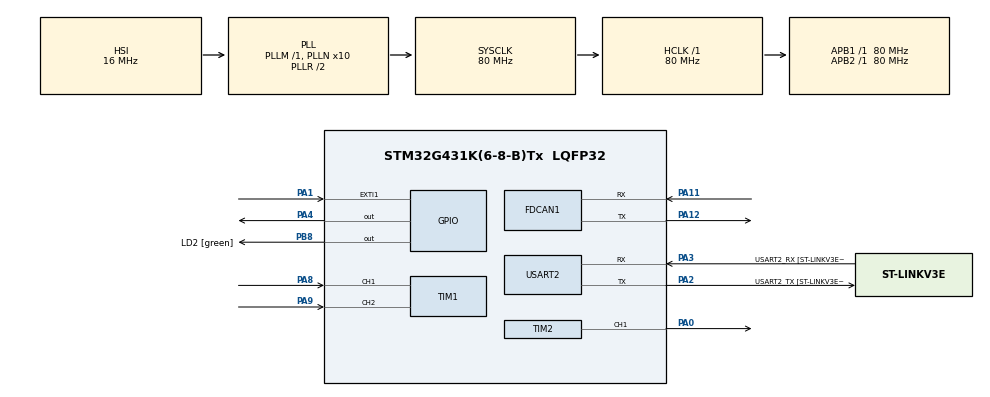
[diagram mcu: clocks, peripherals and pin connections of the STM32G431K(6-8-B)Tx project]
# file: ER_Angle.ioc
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FDCAN1.CalculateBaudRateNominal=1000000
FDCAN1.CalculateTimeBitNominal=1000
FDCAN1.CalculateTimeQuantumNominal=62.5
FDCAN1.DataPrescaler=2
FDCAN1.DataSyncJumpWidth=2
FDCAN1.DataTimeSeg1=10
FDCAN1.DataTimeSeg2=9
FDCAN1.NominalPrescaler=5
FDCAN1.NominalSyncJumpWidth=2
FDCAN1.NominalTimeSeg1=13
FDCAN1.StdFiltersNbr=1
Mcu.Family=STM32G4
Mcu.Name=STM32G431K(6-8-B)Tx
Mcu.Package=LQFP32
NVIC.EXTI1_IRQn=true\:0\:0\:false\:false\:true\:true\:true\:true
NVIC.FDCAN1_IT0_IRQn=true\:0\:0\:false\:false\:true\:true\:true\:true
NVIC.PriorityGroup=NVIC_PRIORITYGROUP_4
NVIC.TIM2_IRQn=true\:0\:0\:false\:false\:true\:true\:true\:true
NVIC.TIM6_DAC_IRQn=true\:0\:0\:false\:false\:true\:true\:true\:true
PA0.Signal=S_TIM2_CH1
PA1.GPIO_ModeDefaultEXTI=GPIO_MODE_IT_RISING
PA1.GPIO_PuPd=GPIO_PULLDOWN
PA1.Signal=GPXTI1
PA11.Mode=FDCAN_Activate
PA11.Signal=FDCAN1_RX
PA12.Mode=FDCAN_Activate
PA12.Signal=FDCAN1_TX
PA13.GPIO_Label=T_SWDIO
PA13.Mode=Serial_Wire
PA13.Signal=SYS_JTMS-SWDIO
PA14.GPIO_Label=T_SWCLK
PA14.Mode=Serial_Wire
PA14.Signal=SYS_JTCK-SWCLK
PA2.GPIO_Label=USART2_TX [ST-LINKV3E_VCP_RX]
PA2.Mode=Asynchronous
PA2.Signal=USART2_TX
PA3.GPIO_Label=USART2_RX [ST-LINKV3E_VCP_TX]
PA3.Mode=Asynchronous
PA3.Signal=USART2_RX
PA4.Signal=GPIO_Output
PA8.Signal=S_TIM1_CH1
PA9.Signal=S_TIM1_CH2
PB3.Signal=S_TIM2_CH2
PB8-BOOT0.GPIO_Label=LD2 [green]
PB8-BOOT0.Signal=GPIO_Output
ProjectManager.HeapSize=0x200
ProjectManager.StackSize=0x400
ProjectManager.TargetToolchain=STM32CubeIDE
RCC.ADC12Freq_Value=80000000
RCC.AHBFreq_Value=80000000
RCC.APB1Freq_Value=80000000
RCC.APB1TimFreq_Value=80000000
RCC.APB2Freq_Value=80000000
RCC.APB2TimFreq_Value=80000000
RCC.CortexFreq_Value=80000000
RCC.EXTERNAL_CLOCK_VALUE=12288000
RCC.HCLKFreq_Value=80000000
RCC.HSE_VALUE=8000000
RCC.HSI48_VALUE=48000000
RCC.HSI_VALUE=16000000
RCC.LSE_VALUE=32768
RCC.PLLN=10
RCC.SYSCLKFreq_VALUE=80000000
RCC.SYSCLKSource=RCC_SYSCLKSOURCE_PLLCLK
RCC.USBFreq_Value=80000000
RCC.VCOOutputFreq_Value=160000000
SH.S_TIM1_CH1.0=TIM1_CH1,Encoder_Interface
SH.S_TIM1_CH2.0=TIM1_CH2,Encoder_Interface
SH.S_TIM2_CH1.0=TIM2_CH1,PWM Generation1 CH1
SH.S_TIM2_CH2.0=TIM2_CH2
TIM1.EncoderMode=TIM_ENCODERMODE_TI12
TIM2.Channel-PWM\ Generation1\ CH1=TIM_CHANNEL_1
TIM2.PeriodNoDither=999
TIM2.Prescaler=7
TIM6.PeriodNoDither=999
TIM6.Prescaler=159
USART2.VirtualMode-Asynchronous=VM_ASYNC
USART2.WordLength=WORDLENGTH_8B
VP_TIM6_VS_ClockSourceINT.Mode=Enable_Timer
board=NUCLEO-G431KB

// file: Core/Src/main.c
/* USER CODE BEGIN Header */
/**
  ******************************************************************************
  * @file           : main.c
  * @brief          : Main program body
  ******************************************************************************
  * @attention
  *
  * Copyright (c) 2023 STMicroelectronics.
  * All rights reserved.
  *
  * This software is licensed under terms that can be found in the LICENSE file
  * in the root directory of this software component.
  * If no LICENSE file comes with this software, it is provided AS-IS.
  *
  ******************************************************************************
  */
/* USER CODE END Header */
#include "main.h"

/* USER CODE BEGIN Includes */
#include <stdio.h>
#include <stdlib.h>
#include <math.h>
#include <stdint.h>
/* USER CODE END Includes */

FDCAN_HandleTypeDef hfdcan1;

TIM_HandleTypeDef htim1;
TIM_HandleTypeDef htim2;
TIM_HandleTypeDef htim6;

UART_HandleTypeDef huart2;

/* USER CODE BEGIN PV */
FDCAN_TxHeaderTypeDef TxHeader;
FDCAN_RxHeaderTypeDef RxHeader;
FDCAN_FilterTypeDef sFilterConfig;

uint8_t TxData[1];
uint8_t RxData[4];
uint32_t TxMailbox;
/* USER CODE END PV */

void SystemClock_Config(void);
static void MX_GPIO_Init(void);
static void MX_USART2_UART_Init(void);
static void MX_TIM1_Init(void);
static void MX_TIM2_Init(void);
static void MX_TIM6_Init(void);
static void MX_FDCAN1_Init(void);

/* USER CODE BEGIN 0 */
int setup_flag = 0;			//"receive from CAN" 1 or 0
							//flag   1:setup   		0:pid or stop
int end_setup_flag = 0;		//flag   1:end setup  	0:continue
int move_flag = 0;			//flag   1:start pid 	0:stop
int32_t pwm = 0;			//duty(0~1000)   0:High   1000:Low

float x_ref = 80;			//"receive from CAN" only 0 ~ 115
float x = 0;				//position of screw nut
float x_last = 0;			//previous position of screw nut
float x_dif = 0;			//velocity (= dx/dt)
float e = 0;				//error (= x_ref - x)
float e_int = 0;			//time-integrated value of e
float gain = 1/6553.6;		//count->x

//pid gains
float kp = 400;
float kd = 0;
float ki = 50;

//low pass filter
float fil = 0.2;

//UART
int __io_putchar(int ch) {
    HAL_UART_Transmit(&huart2, (uint8_t *)&ch, 1, 100);
    return ch;
}

//Read encoder
int16_t read_encoder_value(void)
{
  uint16_t enc_buff = TIM1->CNT;
  TIM1->CNT = 0;
  if (enc_buff > 32767)
  {
    return (int16_t)enc_buff;
  }
  else
  {
    return (int16_t)enc_buff;
  }
}

//timer
void HAL_TIM_PeriodElapsedCallback(TIM_HandleTypeDef *htim)
{
    if (htim == &htim6){
    	if(setup_flag){
    		//setup mode---------------------------------------------------------------------
    		if(end_setup_flag){
    			//stop and end setup---------------------------------------
    			HAL_GPIO_WritePin(GPIOA, GPIO_PIN_4,0);
    			pwm = 980;
    			move_flag = 1;
    			setup_flag = 0;
    			//printf("stop! end setup\r\n");
    		}else{
    			//continue setup-------------------------------------------
    			HAL_GPIO_WritePin(GPIOA, GPIO_PIN_4,0);
    			pwm = 700;
    			//printf("setup now\r\n");
    		}
    	}else if(move_flag){
    		//pid mode--------------------------------------------------------------------------
    		x -= gain*read_encoder_value();			//get x
    		if(x_ref > 115){
    			x_ref = 115;
    		}else if(x_ref < 0){
    			x_ref = 0;
    		}
    		e = x_ref - x;							//calculate error
    		x_dif += fil*((x - x_last) - x_dif);	//calculate x_diff
    		//anti wind up---------------------
    		if(pwm > 600){
    			e_int += 0.01*e;					//calculate x_int
    		}
    		//---------------------------------
    		pwm = kp*e + ki*e_int - kd*x_dif;		//calculate pwm

    		//decide rotational direction of motor
    		if(pwm > 0){
    			HAL_GPIO_WritePin(GPIOA, GPIO_PIN_4,1);
    		}else{
    			HAL_GPIO_WritePin(GPIOA, GPIO_PIN_4,0);
    		}

    		pwm = abs(pwm);
    		if(pwm > 980){
    			pwm = 980;
    		}
    		//printf("%.3f\r\n",x);		//print x
    		pwm = 1000 - pwm;
    	}else{
    		//fail-safe mode------------------------------------------------------------------------
    		HAL_GPIO_WritePin(GPIOA, GPIO_PIN_4,0);
    		pwm = 980;
    		//printf("no data\r\n");
    	}
    }
}

//switch(continue setup or end it)
void HAL_GPIO_EXTI_Callback(uint16_t GPIO_Pin) {
  if (GPIO_Pin == GPIO_PIN_1) {
	  end_setup_flag = 1;
  }
}
/* USER CODE END 0 */

int main(void)
{

  /* MCU Configuration--------------------------------------------------------*/

  /* Reset of all peripherals, Initializes the Flash interface and the Systick. */
  HAL_Init();

  /* Configure the system clock */
  SystemClock_Config();

  /* Initialize all configured peripherals */
  MX_GPIO_Init();
  MX_USART2_UART_Init();
  MX_TIM1_Init();
  MX_TIM2_Init();
  MX_TIM6_Init();
  MX_FDCAN1_Init();
  /* USER CODE BEGIN 2 */
  HAL_TIM_Encoder_Start( &htim1, TIM_CHANNEL_ALL );
  HAL_TIM_PWM_Start(&htim2,TIM_CHANNEL_1);
  HAL_TIM_Base_Start_IT(&htim6);

    TxHeader.Identifier = 0x513;
    TxHeader.IdType = FDCAN_STANDARD_ID;
    TxHeader.TxFrameType = FDCAN_DATA_FRAME;
    TxHeader.DataLength = FDCAN_DLC_BYTES_1;
    TxHeader.ErrorStateIndicator = FDCAN_ESI_ACTIVE;
    TxHeader.BitRateSwitch = FDCAN_BRS_ON;
    TxHeader.FDFormat = FDCAN_FD_CAN;
    TxHeader.TxEventFifoControl = FDCAN_NO_TX_EVENTS;
    TxHeader.MessageMarker = 0;

    FDCAN_FilterTypeDef sFilterConfig;
    sFilterConfig.IdType = FDCAN_STANDARD_ID;
    sFilterConfig.FilterIndex = 0;
    sFilterConfig.FilterType = FDCAN_FILTER_DUAL;
    sFilterConfig.FilterConfig = FDCAN_FILTER_TO_RXFIFO0;
    sFilterConfig.FilterID1 = 0x051;
    sFilterConfig.FilterID2 = 0x301;
  /* USER CODE END 2 */

  /* Infinite loop */
  /* USER CODE BEGIN WHILE */
  setbuf(stdout, NULL);
  while (1)
  {
	  __HAL_TIM_SET_COMPARE(&htim2, TIM_CHANNEL_1, pwm);
    /* USER CODE END WHILE */

  }
}

void SystemClock_Config(void)
{
  RCC_OscInitTypeDef RCC_OscInitStruct = {0};
  RCC_ClkInitTypeDef RCC_ClkInitStruct = {0};

  /** Configure the main internal regulator output voltage
  */
  HAL_PWREx_ControlVoltageScaling(PWR_REGULATOR_VOLTAGE_SCALE1);

  /** Initializes the RCC Oscillators according to the specified parameters
  * in the RCC_OscInitTypeDef structure.
  */
  RCC_OscInitStruct.OscillatorType = RCC_OSCILLATORTYPE_HSI;
  RCC_OscInitStruct.HSIState = RCC_HSI_ON;
  RCC_OscInitStruct.HSICalibrationValue = RCC_HSICALIBRATION_DEFAULT;
  RCC_OscInitStruct.PLL.PLLState = RCC_PLL_ON;
  RCC_OscInitStruct.PLL.PLLSource = RCC_PLLSOURCE_HSI;
  RCC_OscInitStruct.PLL.PLLM = RCC_PLLM_DIV1;
  RCC_OscInitStruct.PLL.PLLN = 10;
  RCC_OscInitStruct.PLL.PLLP = RCC_PLLP_DIV2;
  RCC_OscInitStruct.PLL.PLLQ = RCC_PLLQ_DIV2;
  RCC_OscInitStruct.PLL.PLLR = RCC_PLLR_DIV2;
  if (HAL_RCC_OscConfig(&RCC_OscInitStruct) != HAL_OK)
  {
    Error_Handler();
  }

  /** Initializes the CPU, AHB and APB buses clocks
  */
  RCC_ClkInitStruct.ClockType = RCC_CLOCKTYPE_HCLK|RCC_CLOCKTYPE_SYSCLK
                              |RCC_CLOCKTYPE_PCLK1|RCC_CLOCKTYPE_PCLK2;
  RCC_ClkInitStruct.SYSCLKSource = RCC_SYSCLKSOURCE_PLLCLK;
  RCC_ClkInitStruct.AHBCLKDivider = RCC_SYSCLK_DIV1;
  RCC_ClkInitStruct.APB1CLKDivider = RCC_HCLK_DIV1;
  RCC_ClkInitStruct.APB2CLKDivider = RCC_HCLK_DIV1;

  if (HAL_RCC_ClockConfig(&RCC_ClkInitStruct, FLASH_LATENCY_2) != HAL_OK)
  {
    Error_Handler();
  }
}

static void MX_FDCAN1_Init(void)
{

  hfdcan1.Instance = FDCAN1;
  hfdcan1.Init.ClockDivider = FDCAN_CLOCK_DIV1;
  hfdcan1.Init.FrameFormat = FDCAN_FRAME_CLASSIC;
  hfdcan1.Init.Mode = FDCAN_MODE_NORMAL;
  hfdcan1.Init.AutoRetransmission = DISABLE;
  hfdcan1.Init.TransmitPause = DISABLE;
  hfdcan1.Init.ProtocolException = DISABLE;
  hfdcan1.Init.NominalPrescaler = 5;
  hfdcan1.Init.NominalSyncJumpWidth = 2;
  hfdcan1.Init.NominalTimeSeg1 = 13;
  hfdcan1.Init.NominalTimeSeg2 = 2;
  hfdcan1.Init.DataPrescaler = 2;
  hfdcan1.Init.DataSyncJumpWidth = 2;
  hfdcan1.Init.DataTimeSeg1 = 10;
  hfdcan1.Init.DataTimeSeg2 = 9;
  hfdcan1.Init.StdFiltersNbr = 1;
  hfdcan1.Init.ExtFiltersNbr = 0;
  hfdcan1.Init.TxFifoQueueMode = FDCAN_TX_FIFO_OPERATION;
  if (HAL_FDCAN_Init(&hfdcan1) != HAL_OK)
  {
    Error_Handler();
  }

}

static void MX_TIM1_Init(void)
{

  TIM_Encoder_InitTypeDef sConfig = {0};
  TIM_MasterConfigTypeDef sMasterConfig = {0};

  htim1.Instance = TIM1;
  htim1.Init.Prescaler = 0;
  htim1.Init.CounterMode = TIM_COUNTERMODE_UP;
  htim1.Init.Period = 65535;
  htim1.Init.ClockDivision = TIM_CLOCKDIVISION_DIV1;
  htim1.Init.RepetitionCounter = 0;
  htim1.Init.AutoReloadPreload = TIM_AUTORELOAD_PRELOAD_DISABLE;
  sConfig.EncoderMode = TIM_ENCODERMODE_TI12;
  sConfig.IC1Polarity = TIM_ICPOLARITY_RISING;
  sConfig.IC1Selection = TIM_ICSELECTION_DIRECTTI;
  sConfig.IC1Prescaler = TIM_ICPSC_DIV1;
  sConfig.IC1Filter = 0;
  sConfig.IC2Polarity = TIM_ICPOLARITY_RISING;
  sConfig.IC2Selection = TIM_ICSELECTION_DIRECTTI;
  sConfig.IC2Prescaler = TIM_ICPSC_DIV1;
  sConfig.IC2Filter = 0;
  if (HAL_TIM_Encoder_Init(&htim1, &sConfig) != HAL_OK)
  {
    Error_Handler();
  }
  sMasterConfig.MasterOutputTrigger = TIM_TRGO_RESET;
  sMasterConfig.MasterOutputTrigger2 = TIM_TRGO2_RESET;
  sMasterConfig.MasterSlaveMode = TIM_MASTERSLAVEMODE_DISABLE;
  if (HAL_TIMEx_MasterConfigSynchronization(&htim1, &sMasterConfig) != HAL_OK)
  {
    Error_Handler();
  }

}

static void MX_TIM2_Init(void)
{

  TIM_MasterConfigTypeDef sMasterConfig = {0};
  TIM_OC_InitTypeDef sConfigOC = {0};

  htim2.Instance = TIM2;
  htim2.Init.Prescaler = 7;
  htim2.Init.CounterMode = TIM_COUNTERMODE_UP;
  htim2.Init.Period = 999;
  htim2.Init.ClockDivision = TIM_CLOCKDIVISION_DIV1;
  htim2.Init.AutoReloadPreload = TIM_AUTORELOAD_PRELOAD_DISABLE;
  if (HAL_TIM_PWM_Init(&htim2) != HAL_OK)
  {
    Error_Handler();
  }
  sMasterConfig.MasterOutputTrigger = TIM_TRGO_RESET;
  sMasterConfig.MasterSlaveMode = TIM_MASTERSLAVEMODE_DISABLE;
  if (HAL_TIMEx_MasterConfigSynchronization(&htim2, &sMasterConfig) != HAL_OK)
  {
    Error_Handler();
  }
  sConfigOC.OCMode = TIM_OCMODE_PWM1;
  sConfigOC.Pulse = 0;
  sConfigOC.OCPolarity = TIM_OCPOLARITY_HIGH;
  sConfigOC.OCFastMode = TIM_OCFAST_DISABLE;
  if (HAL_TIM_PWM_ConfigChannel(&htim2, &sConfigOC, TIM_CHANNEL_1) != HAL_OK)
  {
    Error_Handler();
  }
  HAL_TIM_MspPostInit(&htim2);

}

static void MX_TIM6_Init(void)
{

  TIM_MasterConfigTypeDef sMasterConfig = {0};

  htim6.Instance = TIM6;
  htim6.Init.Prescaler = 159;
  htim6.Init.CounterMode = TIM_COUNTERMODE_UP;
  htim6.Init.Period = 999;
  htim6.Init.AutoReloadPreload = TIM_AUTORELOAD_PRELOAD_DISABLE;
  if (HAL_TIM_Base_Init(&htim6) != HAL_OK)
  {
    Error_Handler();
  }
  sMasterConfig.MasterOutputTrigger = TIM_TRGO_RESET;
  sMasterConfig.MasterSlaveMode = TIM_MASTERSLAVEMODE_DISABLE;
  if (HAL_TIMEx_MasterConfigSynchronization(&htim6, &sMasterConfig) != HAL_OK)
  {
    Error_Handler();
  }

}

static void MX_USART2_UART_Init(void)
{

  huart2.Instance = USART2;
  huart2.Init.BaudRate = 115200;
  huart2.Init.WordLength = UART_WORDLENGTH_8B;
  huart2.Init.StopBits = UART_STOPBITS_1;
  huart2.Init.Parity = UART_PARITY_NONE;
  huart2.Init.Mode = UART_MODE_TX_RX;
  huart2.Init.HwFlowCtl = UART_HWCONTROL_NONE;
  huart2.Init.OverSampling = UART_OVERSAMPLING_16;
  huart2.Init.OneBitSampling = UART_ONE_BIT_SAMPLE_DISABLE;
  huart2.Init.ClockPrescaler = UART_PRESCALER_DIV1;
  huart2.AdvancedInit.AdvFeatureInit = UART_ADVFEATURE_NO_INIT;
  if (HAL_UART_Init(&huart2) != HAL_OK)
  {
    Error_Handler();
  }
  if (HAL_UARTEx_SetTxFifoThreshold(&huart2, UART_TXFIFO_THRESHOLD_1_8) != HAL_OK)
  {
    Error_Handler();
  }
  if (HAL_UARTEx_SetRxFifoThreshold(&huart2, UART_RXFIFO_THRESHOLD_1_8) != HAL_OK)
  {
    Error_Handler();
  }
  if (HAL_UARTEx_DisableFifoMode(&huart2) != HAL_OK)
  {
    Error_Handler();
  }

}

static void MX_GPIO_Init(void)
{
  GPIO_InitTypeDef GPIO_InitStruct = {0};

  /* GPIO Ports Clock Enable */
  __HAL_RCC_GPIOA_CLK_ENABLE();
  __HAL_RCC_GPIOB_CLK_ENABLE();

  /*Configure GPIO pin Output Level */
  HAL_GPIO_WritePin(GPIOA, GPIO_PIN_4, GPIO_PIN_RESET);

  /*Configure GPIO pin Output Level */
  HAL_GPIO_WritePin(LD2_GPIO_Port, LD2_Pin, GPIO_PIN_RESET);

  /*Configure GPIO pin : PA1 */
  GPIO_InitStruct.Pin = GPIO_PIN_1;
  GPIO_InitStruct.Mode = GPIO_MODE_IT_RISING;
  GPIO_InitStruct.Pull = GPIO_PULLDOWN;
  HAL_GPIO_Init(GPIOA, &GPIO_InitStruct);

  /*Configure GPIO pin : PA4 */
  GPIO_InitStruct.Pin = GPIO_PIN_4;
  GPIO_InitStruct.Mode = GPIO_MODE_OUTPUT_PP;
  GPIO_InitStruct.Pull = GPIO_NOPULL;
  GPIO_InitStruct.Speed = GPIO_SPEED_FREQ_LOW;
  HAL_GPIO_Init(GPIOA, &GPIO_InitStruct);

  /*Configure GPIO pin : LD2_Pin */
  GPIO_InitStruct.Pin = LD2_Pin;
  GPIO_InitStruct.Mode = GPIO_MODE_OUTPUT_PP;
  GPIO_InitStruct.Pull = GPIO_NOPULL;
  GPIO_InitStruct.Speed = GPIO_SPEED_FREQ_LOW;
  HAL_GPIO_Init(LD2_GPIO_Port, &GPIO_InitStruct);

  /* EXTI interrupt init*/
  HAL_NVIC_SetPriority(EXTI1_IRQn, 0, 0);
  HAL_NVIC_EnableIRQ(EXTI1_IRQn);

}

/* USER CODE BEGIN 4 */
void HAL_FDCAN_RxFifo0Callback(FDCAN_HandleTypeDef *hfdcan1, uint32_t RxFifo0ITs) {
    if ((RxFifo0ITs & FDCAN_IT_RX_FIFO0_NEW_MESSAGE) != RESET) {
        /* Retrieve Rx messages from RX FIFO0 */
        if (HAL_FDCAN_GetRxMessage(hfdcan1, FDCAN_RX_FIFO0, &RxHeader, RxData) != HAL_OK) {
            Error_Handler();
        }

        if ((RxHeader.Identifier == 0x301)) {
            setup_flag = 1;
            union {
                uint8_t bytes[4];
                float data;
            }Data;
            for (int i = 0; i < 4; ++i) {
                Data.bytes[i] = RxData[i];
            }
            x_ref = Data.data;
        }
        if ((RxHeader.Identifier == 0x051)) {
            setup_flag = 0;
        }
    }
}
/* USER CODE END 4 */

void Error_Handler(void)
{
  __disable_irq();
  while (1)
  {
  }
}
